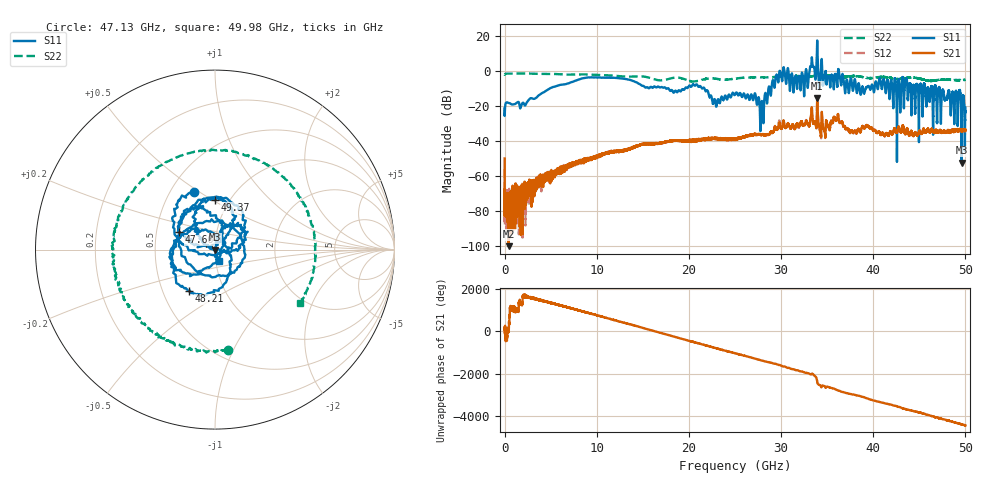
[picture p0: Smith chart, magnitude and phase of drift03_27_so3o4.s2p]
!Created with skrf (http://scikit-rf.org).
# Hz S RI R 50.0
!freq ReS11 ImS11 ReS21 ImS21 ReS12 ImS12 ReS22 ImS22
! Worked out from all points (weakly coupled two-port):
!   10001 points, 300 kHz to 50 GHz, reference 50 ohm
!   highest |S21| = -15.37 dB at 33.92 GHz (marker M1); lowest = -100.1 dB at 425.3 MHz (marker M2)
!   lowest |S11| = -52.4 dB at 49.58 GHz (marker M3), VSWR 1.00, Z = 49.8 - j0.00424 ohm
!   |S11| at or under -10 dB: start of sweep to 4.849 GHz; 21.69 GHz to 28.62 GHz (6.934 GHz wide, 27.6 % of centre); 47.2 GHz to end of sweep (the widest 3 of 43)
!   |S22| runs from -5.9 to -1.3 dB; largest |S21 - S12| = 0.017
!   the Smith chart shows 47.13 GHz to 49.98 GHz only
!   S11 on the Smith chart (normalised r, x): 47.13 GHz: 0.65, +0.48; 47.66 GHz: 0.66, +0.13; 48.21 GHz: 0.68, -0.34; 49.37 GHz: 0.85, +0.51; 49.98 GHz: 1.04, -0.13
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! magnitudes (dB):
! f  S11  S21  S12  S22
! 300 kHz  -21.4  -49.9  -56.1  -2.0
! 255.3 MHz  -17.9  -79.1  -80.8  -1.4
! 425.3 MHz  -18.2  -100.1  -70.5  -1.5
! 8.335 GHz  -4.3  -51.3  -51.3  -1.9
! 16.67 GHz  -8.8  -41.3  -41.4  -5.2
! 21.01 GHz  -8.8  -39.0  -39.4  -5.6
! 22.81 GHz  -16.2  -38.3  -38.6  -4.3
! 25 GHz  -13.4  -38.9  -38.6  -4.3
! 27.92 GHz  -17.1  -36.5  -36.6  -3.5
! 29.69 GHz  -6.5  -32.0  -31.7  -3.1
! 32.32 GHz  -1.5  -30.5  -30.6  -3.3
! 33.34 GHz  7.8  -20.6  -20.9  -2.9
! 33.92 GHz  17.5  -15.4  -15.7  -2.5
! 38.82 GHz  -9.0  -31.4  -31.9  -3.4
! 41.67 GHz  -9.0  -36.8  -36.7  -3.7
! 47.13 GHz  -9.3  -34.6  -34.7  -5.0
! 47.66 GHz  -13.1  -34.9  -34.5  -4.8
! 48.21 GHz  -11.2  -34.5  -34.4  -4.9
! 49.37 GHz  -11.1  -33.3  -33.8  -5.1
! 49.58 GHz  -52.4  -34.0  -34.3  -5.0
! 49.98 GHz  -23.8  -33.9  -34.1  -5.1
! 50 GHz  -20.9  -34.1  -33.7  -5.0
